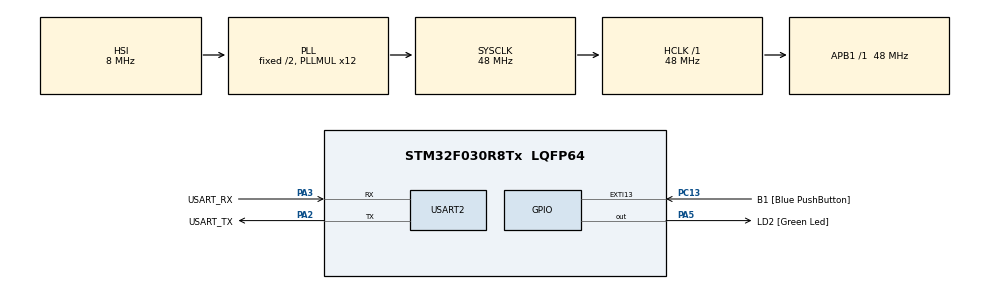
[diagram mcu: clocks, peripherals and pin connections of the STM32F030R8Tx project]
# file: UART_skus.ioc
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Dma.Request0=USART2_RX
Dma.USART2_RX.0.Direction=DMA_PERIPH_TO_MEMORY
Dma.USART2_RX.0.Instance=DMA1_Channel5
Dma.USART2_RX.0.MemDataAlignment=DMA_MDATAALIGN_BYTE
Dma.USART2_RX.0.MemInc=DMA_MINC_ENABLE
Dma.USART2_RX.0.Mode=DMA_CIRCULAR
Dma.USART2_RX.0.PeriphDataAlignment=DMA_PDATAALIGN_BYTE
Dma.USART2_RX.0.PeriphInc=DMA_PINC_DISABLE
Dma.USART2_RX.0.Priority=DMA_PRIORITY_LOW
Mcu.Family=STM32F0
Mcu.Name=STM32F030R8Tx
Mcu.Package=LQFP64
NVIC.DMA1_Channel4_5_IRQn=true\:0\:0\:false\:false\:true\:false\:true\:true
PA13.GPIO_Label=TMS
PA13.Mode=Serial_Wire
PA13.Signal=SYS_SWDIO
PA14.GPIO_Label=TCK
PA14.Mode=Serial_Wire
PA14.Signal=SYS_SWCLK
PA2.GPIO_Label=USART_TX
PA2.GPIO_Mode=GPIO_MODE_AF_PP
PA2.GPIO_PuPd=GPIO_NOPULL
PA2.GPIO_Speed=GPIO_SPEED_FREQ_LOW
PA2.Mode=Asynchronous
PA2.Signal=USART2_TX
PA3.GPIO_Label=USART_RX
PA3.GPIO_Mode=GPIO_MODE_AF_PP
PA3.GPIO_PuPd=GPIO_NOPULL
PA3.GPIO_Speed=GPIO_SPEED_FREQ_LOW
PA3.Mode=Asynchronous
PA3.Signal=USART2_RX
PA5.GPIO_Label=LD2 [Green Led]
PA5.GPIO_Mode=GPIO_MODE_OUTPUT_PP
PA5.GPIO_PuPd=GPIO_NOPULL
PA5.GPIO_Speed=GPIO_SPEED_FREQ_LOW
PA5.Signal=GPIO_Output
PC13.GPIO_Label=B1 [Blue PushButton]
PC13.GPIO_ModeDefaultEXTI=GPIO_MODE_IT_FALLING
PC13.Signal=GPXTI13
PC14-OSC32_IN.Mode=LSE-External-Oscillator
PC14-OSC32_IN.Signal=RCC_OSC32_IN
PC15-OSC32_OUT.Mode=LSE-External-Oscillator
PC15-OSC32_OUT.Signal=RCC_OSC32_OUT
PF0-OSC_IN.Mode=HSE-External-Clock-Source
PF0-OSC_IN.Signal=RCC_OSC_IN
PF1-OSC_OUT.Signal=RCC_OSC_OUT
ProjectManager.HeapSize=0x200
ProjectManager.StackSize=0x400
ProjectManager.TargetToolchain=STM32CubeIDE
RCC.AHBFreq_Value=48000000
RCC.APB1Freq_Value=48000000
RCC.APB1TimFreq_Value=48000000
RCC.HCLKFreq_Value=48000000
RCC.PLLMUL=RCC_PLL_MUL12
RCC.SYSCLKFreq_VALUE=48000000
RCC.SYSCLKSource=RCC_SYSCLKSOURCE_PLLCLK
USART2.VirtualMode-Asynchronous=VM_ASYNC
board=NUCLEO-F030R8

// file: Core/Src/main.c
/* USER CODE BEGIN Header */
/**
  ******************************************************************************
  * @file           : main.c
  * @brief          : Main program body
  ******************************************************************************
  * @attention
  *
  * Copyright (c) 2024 STMicroelectronics.
  * All rights reserved.
  *
  * This software is licensed under terms that can be found in the LICENSE file
  * in the root directory of this software component.
  * If no LICENSE file comes with this software, it is provided AS-IS.
  *
  ******************************************************************************
  */
/* USER CODE END Header */
#include "main.h"

/* USER CODE BEGIN PD */
#define RX_BUFFER_LEN 64
#define CMD_BUFFER_LEN 256
#define uart_rx_write_ptr (RX_BUFFER_LEN - hdma_usart2_rx.Instance->CNDTR)

/* USER CODE END PD */

UART_HandleTypeDef huart2;
DMA_HandleTypeDef hdma_usart2_rx;

void SystemClock_Config(void);
static void MX_DMA_Init(void);
static void MX_USART2_UART_Init(void);
/* USER CODE BEGIN PFP */

static void uart_byte_available(uint8_t c)
{
 static uint16_t cnt;
 static char data[CMD_BUFFER_LEN];
 if (cnt < CMD_BUFFER_LEN && c >= 32 && c <= 126) data[cnt++] = c;
 if ((c == '\n' || c == '\r') && cnt > 0) {
 data[cnt] = '\0';
 uart_process_command(data);
 cnt = 0;
 }
}

/* USER CODE END PFP */

/* USER CODE BEGIN 0 */
static uint8_t uart_rx_buf[RX_BUFFER_LEN];
static volatile uint16_t uart_rx_read_ptr = 0;
/* USER CODE END 0 */

int main(void)
{

  /* MCU Configuration--------------------------------------------------------*/

  /* Reset of all peripherals, Initializes the Flash interface and the Systick. */
  HAL_Init();

  /* Configure the system clock */
  SystemClock_Config();

  /* Initialize all configured peripherals */
  MX_GPIO_Init();
  MX_DMA_Init();
  MX_USART2_UART_Init();
  /* USER CODE BEGIN 2 */
  uint8_t c;
  HAL_UART_Receive(&huart2, &c, 1, HAL_MAX_DELAY);
  HAL_UART_Transmit(&huart2, &c, 1, HAL_MAX_DELAY);
  HAL_UART_Receive_DMA(&huart2, uart_rx_buf, RX_BUFFER_LEN);

  /* USER CODE END 2 */

  /* Infinite loop */
  /* USER CODE BEGIN WHILE */
  while (1)
  {
	  while (uart_rx_read_ptr != uart_rx_write_ptr) {
	   uint8_t b = uart_rx_buf[uart_rx_read_ptr];
	   if (++uart_rx_read_ptr >= RX_BUFFER_LEN) uart_rx_read_ptr = 0; // increase read pointer
	   uart_byte_available(b); // process every received byte with the RX state machine
	  }
    /* USER CODE END WHILE */

  }
}

void SystemClock_Config(void)
{
  RCC_OscInitTypeDef RCC_OscInitStruct = {0};
  RCC_ClkInitTypeDef RCC_ClkInitStruct = {0};

  /** Initializes the RCC Oscillators according to the specified parameters
  * in the RCC_OscInitTypeDef structure.
  */
  RCC_OscInitStruct.OscillatorType = RCC_OSCILLATORTYPE_HSI;
  RCC_OscInitStruct.HSIState = RCC_HSI_ON;
  RCC_OscInitStruct.HSICalibrationValue = RCC_HSICALIBRATION_DEFAULT;
  RCC_OscInitStruct.PLL.PLLState = RCC_PLL_ON;
  RCC_OscInitStruct.PLL.PLLSource = RCC_PLLSOURCE_HSI;
  RCC_OscInitStruct.PLL.PLLMUL = RCC_PLL_MUL12;
  RCC_OscInitStruct.PLL.PREDIV = RCC_PREDIV_DIV1;
  if (HAL_RCC_OscConfig(&RCC_OscInitStruct) != HAL_OK)
  {
    Error_Handler();
  }

  /** Initializes the CPU, AHB and APB buses clocks
  */
  RCC_ClkInitStruct.ClockType = RCC_CLOCKTYPE_HCLK|RCC_CLOCKTYPE_SYSCLK
                              |RCC_CLOCKTYPE_PCLK1;
  RCC_ClkInitStruct.SYSCLKSource = RCC_SYSCLKSOURCE_PLLCLK;
  RCC_ClkInitStruct.AHBCLKDivider = RCC_SYSCLK_DIV1;
  RCC_ClkInitStruct.APB1CLKDivider = RCC_HCLK_DIV1;

  if (HAL_RCC_ClockConfig(&RCC_ClkInitStruct, FLASH_LATENCY_1) != HAL_OK)
  {
    Error_Handler();
  }
}

static void MX_USART2_UART_Init(void)
{

  huart2.Instance = USART2;
  huart2.Init.BaudRate = 38400;
  huart2.Init.WordLength = UART_WORDLENGTH_8B;
  huart2.Init.StopBits = UART_STOPBITS_1;
  huart2.Init.Parity = UART_PARITY_NONE;
  huart2.Init.Mode = UART_MODE_TX_RX;
  huart2.Init.HwFlowCtl = UART_HWCONTROL_NONE;
  huart2.Init.OverSampling = UART_OVERSAMPLING_16;
  huart2.Init.OneBitSampling = UART_ONE_BIT_SAMPLE_DISABLE;
  huart2.AdvancedInit.AdvFeatureInit = UART_ADVFEATURE_NO_INIT;
  if (HAL_UART_Init(&huart2) != HAL_OK)
  {
    Error_Handler();
  }

}

static void MX_DMA_Init(void)
{

  /* DMA controller clock enable */
  __HAL_RCC_DMA1_CLK_ENABLE();

  /* DMA interrupt init */
  /* DMA1_Channel4_5_IRQn interrupt configuration */
  HAL_NVIC_SetPriority(DMA1_Channel4_5_IRQn, 0, 0);
  HAL_NVIC_EnableIRQ(DMA1_Channel4_5_IRQn);

}

void MX_GPIO_Init(void)
{
  GPIO_InitTypeDef GPIO_InitStruct = {0};

  /* GPIO Ports Clock Enable */
  __HAL_RCC_GPIOC_CLK_ENABLE();
  __HAL_RCC_GPIOF_CLK_ENABLE();
  __HAL_RCC_GPIOA_CLK_ENABLE();

  /*Configure GPIO pin Output Level */
  HAL_GPIO_WritePin(LD2_GPIO_Port, LD2_Pin, GPIO_PIN_RESET);

  /*Configure GPIO pin : B1_Pin */
  GPIO_InitStruct.Pin = B1_Pin;
  GPIO_InitStruct.Mode = GPIO_MODE_IT_FALLING;
  GPIO_InitStruct.Pull = GPIO_NOPULL;
  HAL_GPIO_Init(B1_GPIO_Port, &GPIO_InitStruct);

  /*Configure GPIO pin : LD2_Pin */
  GPIO_InitStruct.Pin = LD2_Pin;
  GPIO_InitStruct.Mode = GPIO_MODE_OUTPUT_PP;
  GPIO_InitStruct.Pull = GPIO_NOPULL;
  GPIO_InitStruct.Speed = GPIO_SPEED_FREQ_LOW;
  HAL_GPIO_Init(LD2_GPIO_Port, &GPIO_InitStruct);

}

void Error_Handler(void)
{
  __disable_irq();
  while (1)
  {
  }
}
